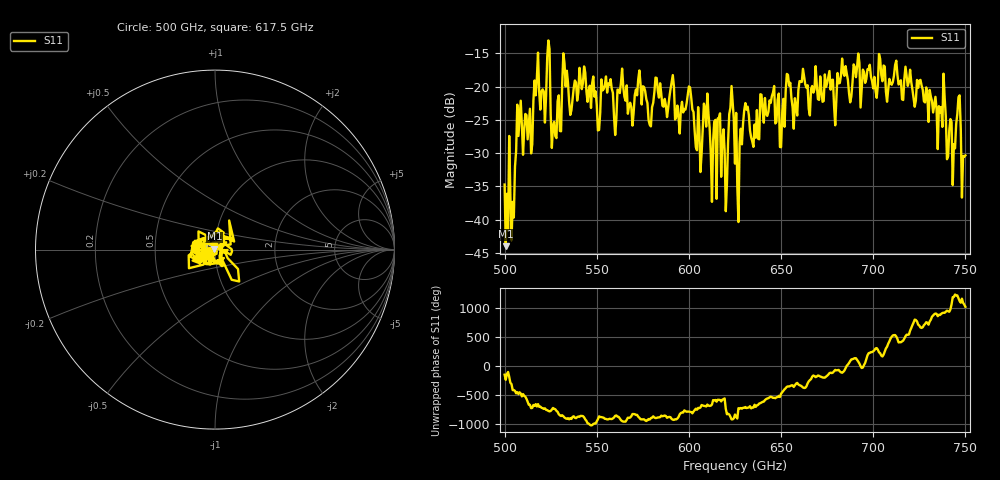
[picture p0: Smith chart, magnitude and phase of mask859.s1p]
!Created with skrf (http://scikit-rf.org).
# GHz S MA R 50.0
!freq magS11 angS11
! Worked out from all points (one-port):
!   401 points, 500 GHz to 750 GHz, reference 50 ohm
!   lowest |S11| = -44.0 dB at 500.6 GHz (marker M1), VSWR 1.01, Z = 49.7 + j0.534 ohm
!   |S11| at or under -10 dB: start of sweep to end of sweep
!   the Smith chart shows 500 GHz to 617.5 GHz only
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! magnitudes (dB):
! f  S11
! 500 GHz  -34.7
! 500.6 GHz  -44.0
! 504.4 GHz  -37.3
! 508.1 GHz  -24.8
! 513.8 GHz  -23.3
! 516.9 GHz  -21.3
! 523.8 GHz  -13.0
! 526.9 GHz  -25.3
! 531.2 GHz  -19.5
! 562.5 GHz  -21.0
! 578.8 GHz  -25.7
! 590.6 GHz  -19.3
! 593.8 GHz  -22.8
! 600 GHz  -20.0
! 605.6 GHz  -26.2
! 609.4 GHz  -26.0
! 620 GHz  -38.7
! 623.1 GHz  -19.9
! 625 GHz  -31.6
! 627.5 GHz  -28.5
! 631.2 GHz  -23.5
! 635 GHz  -29.0
! 656.2 GHz  -23.1
! 687.5 GHz  -22.3
! 718.8 GHz  -19.9
! 741.9 GHz  -24.9
! 746.2 GHz  -21.6
! 750 GHz  -30.3
